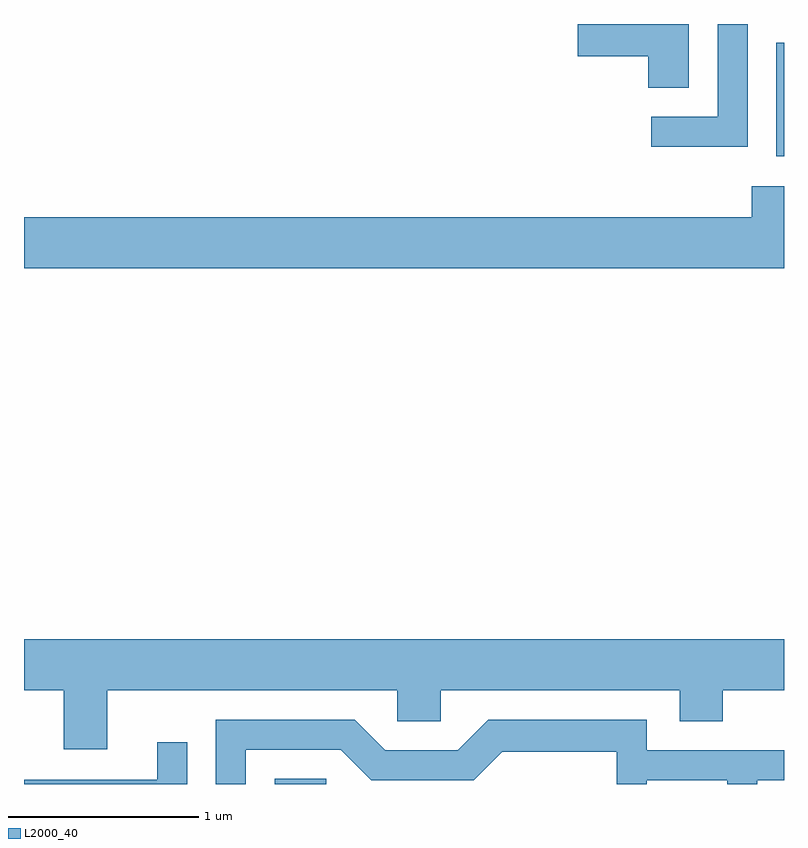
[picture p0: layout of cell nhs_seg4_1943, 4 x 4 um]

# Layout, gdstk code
import gdstk
lib = gdstk.Library(unit=1e-6, precision=1e-09)
def R(c, l, rs):  # rectangles x0, y0, x1, y1
    for r in rs: c.add(gdstk.rectangle(r[:2], r[2:], *l))
def P(c, l, *ps):  # polygons
    for p in ps: c.add(gdstk.Polygon(p, *l))
L2000_40 = (2000, 40)

nhs_seg4_1943 = lib.new_cell('nhs_seg4_1943')
R(nhs_seg4_1943, L2000_40, [(242.931,1331.982,243.203,1332.009), (245.571,1335.286,245.611,1335.884)])
P(nhs_seg4_1943, L2000_40, [(245.419,1335.982),(245.261,1335.982),(245.261,1335.494),(244.913,1335.494),(244.913,1335.336),(245.419,1335.336)],
  [(245.109,1335.982),(244.526,1335.982),(244.526,1335.811),(244.896,1335.811),(244.896,1335.646),(245.109,1335.646)],
  [(245.611,1335.129),(245.441,1335.129),(245.441,1334.964),(241.611,1334.964),(241.611,1334.696),(245.611,1334.696)],
  [(242.049,1332.476),(243.576,1332.476),(243.576,1332.311),(243.804,1332.311),(243.804,1332.476),(245.061,1332.476),(245.061,1332.311),(245.289,1332.311),(245.289,1332.476),(245.611,1332.476),(245.611,1332.744),(241.611,1332.744),(241.611,1332.476),(241.821,1332.476),(241.821,1332.166),(242.049,1332.166)],
  [(242.779,1332.161),(243.279,1332.161),(243.439,1332.001),(243.977,1332.001),(244.127,1332.151),(244.731,1332.151),(244.731,1331.982),(244.889,1331.982),(244.889,1332.001),(245.311,1332.001),(245.311,1331.982),(245.469,1331.982),(245.469,1332.001),(245.611,1332.001),(245.611,1332.159),(244.889,1332.159),(244.889,1332.319),(244.054,1332.319),(243.894,1332.159),(243.512,1332.159),(243.352,1332.319),(242.621,1332.319),(242.621,1331.982),(242.779,1331.982)],
  [(242.469,1332.203),(242.311,1332.203),(242.311,1332.004),(241.611,1332.004),(241.611,1331.982),(242.469,1331.982)])

lib.write_gds('nhs_seg4_1943.gds')
